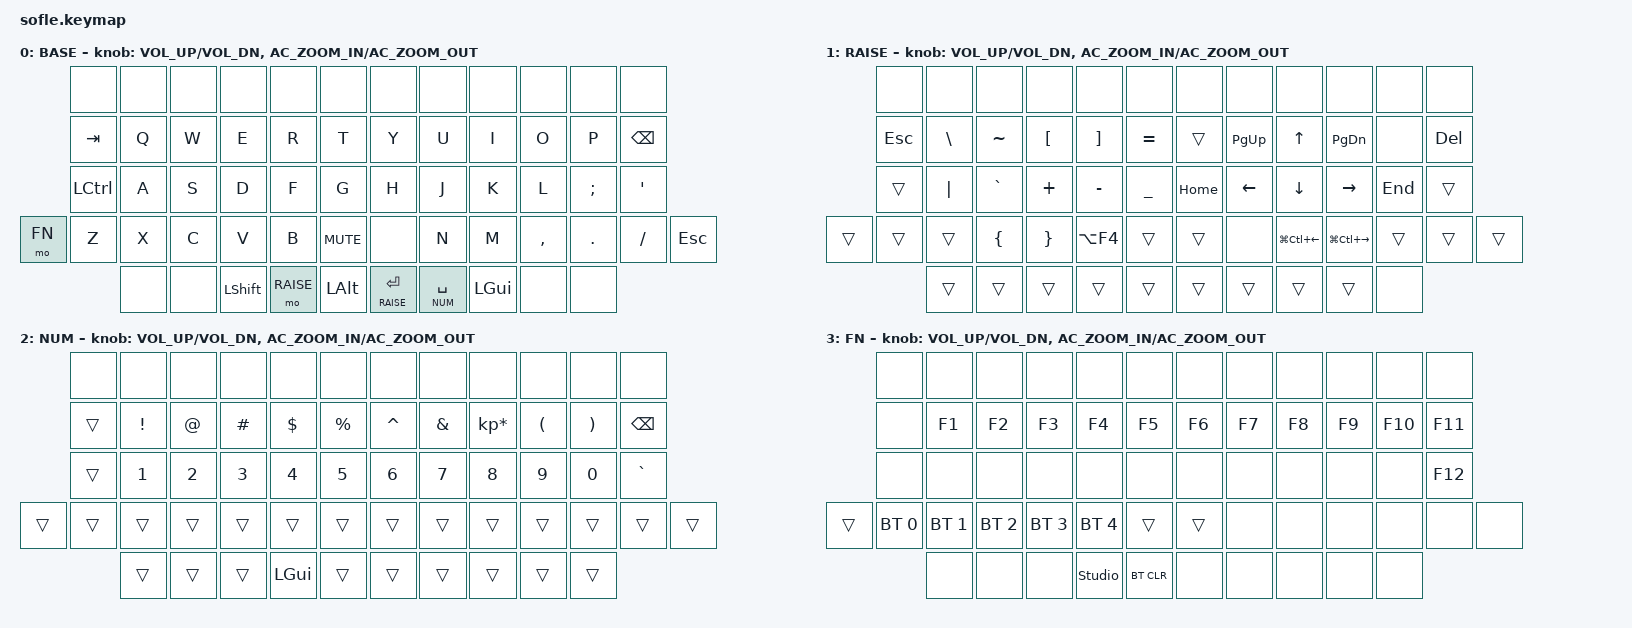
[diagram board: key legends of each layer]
#include <behaviors.dtsi>
#include <dt-bindings/zmk/keys.h>
#include <dt-bindings/zmk/bt.h>
#include <dt-bindings/zmk/rgb.h>
#include <dt-bindings/zmk/ext_power.h>


#define BASE 0
#define RAISE 1
#define NUM 2
#define FN 3

/ {
keymap {
compatible = "zmk,keymap";

    base_layer{
        display-name = "BASE";

        bindings = <


&none  &none  &none &none  &none  &none      &none  &none  &none  &none  &none  &none
&kp TAB    &kp Q  &kp W  &kp E     &kp R  &kp T        &kp Y    &kp U  &kp I      &kp O    &kp P     &kp BSPC
&kp LCTRL  &kp A  &kp S  &kp D     &kp F  &kp G        &kp H    &kp J  &kp K      &kp L    &kp SEMI  &kp SQT
&mo FN     &kp Z  &kp X  &kp C     &kp V  &kp B  &kp C_MUTE &none      &kp N    &kp M  &kp COMMA  &kp DOT  &kp FSLH  &kp ESC
&none &none   &kp LSHIFT  &mo RAISE  &kp LALT      &lt RAISE ENTER  &lt NUM SPACE  &kp LGUI &none &none
        >;

        sensor-bindings = <&inc_dec_kp C_VOL_UP C_VOL_DN &inc_dec_kp C_AC_ZOOM_IN C_AC_ZOOM_OUT>;

    };

    raise_layer {
        display-name = "RAISE";

        bindings = <

&none  &none  &none &none  &none  &none      &none  &none  &none  &none  &none  &none
&kp ESC       &kp BSLH      &kp TILDE     &kp LBKT       &kp RBKT        &kp EQUAL   &trans    &kp PG_UP  &kp UP    &kp PG_DN   &none    &kp DELETE
&trans       &kp PIPE      &kp GRAVE     &kp PLUS        &kp MINUS       &kp UNDER   &kp HOME  &kp LEFT   &kp DOWN  &kp RIGHT   &kp END   &trans
&trans       &trans        &trans        &kp LBRC        &kp RBRC        &kp LA(F4) &trans &trans  &none     &kp LG(LC(LEFT))     &kp LG(LC(RIGHT))   &trans    &trans    &trans

                    &trans    &trans     &trans &trans &trans &trans &trans     &trans  &trans    &none
        >;
        sensor-bindings = <&inc_dec_kp C_VOL_UP C_VOL_DN &inc_dec_kp C_AC_ZOOM_IN C_AC_ZOOM_OUT>;

    };

    num_layer {
        display-name = "NUM";

        bindings = <

&none  &none  &none &none  &none  &none      &none  &none  &none  &none  &none  &none
&trans    &kp EXCL  &kp AT  &kp HASH   &kp DLLR  &kp PRCNT    &kp CARET  &kp AMPS   &kp KP_MULTIPLY  &kp LPAR  &kp RPAR  &kp BSPC
&trans   &kp N1    &kp N2  &kp N3  &kp N4    &kp N5    &kp N6  &kp N7  &kp N8         &kp N9  &kp N0  &kp GRAVE
&trans  &trans    &trans  &trans     &trans    &trans &trans &trans      &trans  &trans   &trans         &trans  &trans  &trans

                   &trans &trans &trans   &kp LGUI    &trans    &trans    &trans     &trans &trans &trans
        >;
        sensor-bindings = <&inc_dec_kp C_VOL_UP C_VOL_DN &inc_dec_kp C_AC_ZOOM_IN C_AC_ZOOM_OUT>;

    };

    fn_layer {
        display-name = "FN";

        bindings = <

&none  &none  &none &none  &none  &none      &none  &none  &none  &none  &none  &none
&none    &kp F1    &kp F2    &kp F3      &kp F4    &kp F5      &kp F6    &kp F7   &kp F8    &kp F9    &kp F10   &kp F11
&none    &none    &none    &none      &none    &none      &none    &none  &none  &none  &none  &kp F12
&trans   &bt BT_SEL 0  &bt BT_SEL 1  &bt BT_SEL 2  &bt BT_SEL 3  &bt BT_SEL 4  &trans &trans &none  &none  &none  &none  &none  &none

                    &none &none &none        &studio_unlock    &bt BT_CLR   &none       &none     &none &none &none
        >;

        sensor-bindings = <&inc_dec_kp C_VOL_UP C_VOL_DN &inc_dec_kp C_AC_ZOOM_IN C_AC_ZOOM_OUT>;

    };
};
};
